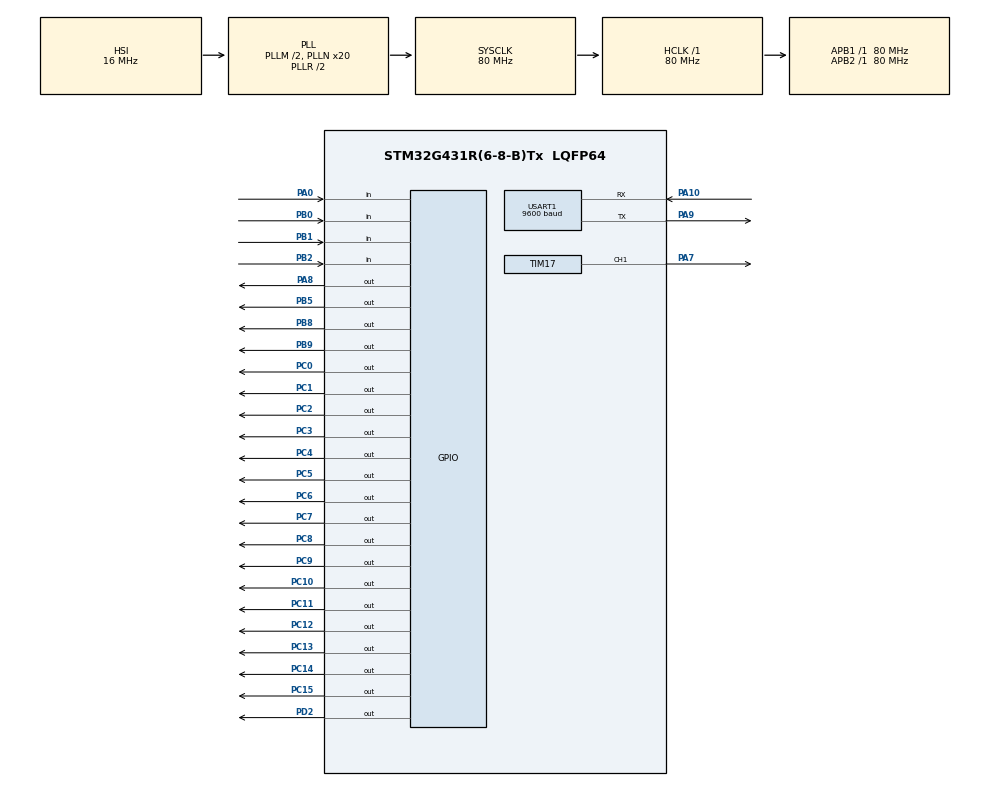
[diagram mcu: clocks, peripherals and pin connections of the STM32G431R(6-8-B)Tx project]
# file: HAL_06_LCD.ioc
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Mcu.Family=STM32G4
Mcu.Name=STM32G431R(6-8-B)Tx
Mcu.Package=LQFP64
NVIC.PriorityGroup=NVIC_PRIORITYGROUP_4
NVIC.TIM1_BRK_TIM15_IRQn=true\:0\:0\:false\:false\:true\:true\:true\:true
NVIC.USART1_IRQn=true\:0\:0\:false\:false\:true\:true\:true\:true
PA0.GPIO_PuPd=GPIO_PULLUP
PA0.Signal=GPIO_Input
PA10.Mode=Asynchronous
PA10.Signal=USART1_RX
PA7.Signal=S_TIM17_CH1
PA8.Signal=GPIO_Output
PA9.Mode=Asynchronous
PA9.Signal=USART1_TX
PB0.GPIO_Mode=GPIO_MODE_INPUT
PB0.GPIO_PuPd=GPIO_PULLUP
PB0.Signal=GPIO_Input
PB1.GPIO_Mode=GPIO_MODE_INPUT
PB1.GPIO_PuPd=GPIO_PULLUP
PB1.Signal=GPIO_Input
PB2.GPIO_Mode=GPIO_MODE_INPUT
PB2.GPIO_PuPd=GPIO_PULLUP
PB2.Signal=GPIO_Input
PB5.Signal=GPIO_Output
PB8-BOOT0.Signal=GPIO_Output
PB9.Signal=GPIO_Output
PC0.Signal=GPIO_Output
PC1.Signal=GPIO_Output
PC10.Signal=GPIO_Output
PC11.Signal=GPIO_Output
PC12.Signal=GPIO_Output
PC13.Signal=GPIO_Output
PC14-OSC32_IN.Signal=GPIO_Output
PC15-OSC32_OUT.Signal=GPIO_Output
PC2.Signal=GPIO_Output
PC3.Signal=GPIO_Output
PC4.Signal=GPIO_Output
PC5.Signal=GPIO_Output
PC6.Signal=GPIO_Output
PC7.Signal=GPIO_Output
PC8.Signal=GPIO_Output
PC9.Signal=GPIO_Output
PD2.Signal=GPIO_Output
PF0-OSC_IN.Mode=HSE-External-Oscillator
PF0-OSC_IN.Signal=RCC_OSC_IN
PF1-OSC_OUT.Mode=HSE-External-Oscillator
PF1-OSC_OUT.Signal=RCC_OSC_OUT
ProjectManager.HeapSize=0x200
ProjectManager.StackSize=0x400
ProjectManager.TargetToolchain=MDK-ARM V5.27
RCC.ADC12Freq_Value=80000000
RCC.AHBFreq_Value=80000000
RCC.APB1Freq_Value=80000000
RCC.APB1TimFreq_Value=80000000
RCC.APB2Freq_Value=80000000
RCC.APB2TimFreq_Value=80000000
RCC.CortexFreq_Value=80000000
RCC.EXTERNAL_CLOCK_VALUE=12288000
RCC.HCLKFreq_Value=80000000
RCC.HSE_VALUE=24000000
RCC.HSI48_VALUE=48000000
RCC.HSI_VALUE=16000000
RCC.LSE_VALUE=32768
RCC.PLLM=RCC_PLLM_DIV2
RCC.PLLN=20
RCC.SYSCLKFreq_VALUE=80000000
RCC.SYSCLKSource=RCC_SYSCLKSOURCE_PLLCLK
RCC.USBFreq_Value=80000000
RCC.VCOOutputFreq_Value=160000000
SH.S_TIM17_CH1.0=TIM17_CH1,PWM Generation1 CH1
TIM15.AutoReloadPreload=TIM_AUTORELOAD_PRELOAD_ENABLE
TIM15.PeriodNoDither=1000-1
TIM15.Prescaler=80-1
TIM17.AutoReloadPreload=TIM_AUTORELOAD_PRELOAD_ENABLE
TIM17.Channel=TIM_CHANNEL_1
TIM17.PeriodNoDither=100-1
TIM17.Prescaler=400-1
USART1.BaudRate=9600
USART1.VirtualMode-Asynchronous=VM_ASYNC
VP_SYS_VS_DBSignals.Mode=DisableDeadBatterySignals
VP_TIM15_VS_ClockSourceINT.Mode=Internal
VP_TIM17_VS_ClockSourceINT.Mode=Enable_Timer
board=custom

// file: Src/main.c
/* USER CODE BEGIN Header */
/**
  ******************************************************************************
  * @file           : main.c
  * @brief          : Main program body
  ******************************************************************************
  * @attention
  *
  * <h2><center>&copy; Copyright (c) 2021 STMicroelectronics.
  * All rights reserved.</center></h2>
  *
  * This software component is licensed by ST under BSD 3-Clause license,
  * the "License"; You may not use this file except in compliance with the
  * License. You may obtain a copy of the License at:
  *                        opensource.org/licenses/BSD-3-Clause
  *
  ******************************************************************************
  */
/* USER CODE END Header */
#include "main.h"
#include "tim.h"
#include "usart.h"
#include "gpio.h"

/* USER CODE BEGIN Includes */
#include "stdio.h"
#include "string.h"

int fputc(int ch,FILE *f){
	HAL_UART_Transmit(&huart1,(uint8_t*)&ch,1,0xffff);
	return ch;
}
/* USER CODE END Includes */

/* USER CODE BEGIN PTD */
typedef struct KEYs{
	_Bool singe_flag;
	_Bool sta;
	int judge;
	int counter;
}KEY;
KEY key[4]={0,0,0,0};

typedef struct DATA{
	char car_pate[4];
	char date[6];
	char time[6];
}DATA_car;
DATA_car car_message[8];
DATA_car car_temp;
char rx_data[30];
char tx_text[30];
int pointer=0;
uint8_t rx_pData;

/* USER CODE END PTD */

/* USER CODE BEGIN PD */
#define DATA 1
#define PARA 0
/* USER CODE END PD */

/* USER CODE BEGIN PM */
_Bool lcd_change=DATA;
/* USER CODE END PM */

/* USER CODE BEGIN PV */
char lcd_text[20];

int remain_car=8;
int cnbr_car=0;
int vnbr_car=0;

double cnbr_car_price=3.5f;
double vnbr_car_price=2.0f;

unsigned int B4_number=0;
/* USER CODE END PV */

void SystemClock_Config(void);

/* USER CODE BEGIN 0 */
int double_flag=0;
int wirte_counter=1;
int last_counter=0;
int i=0;
void count_money(){
	int hour1,min1;
	float money;
	hour1=(rx_data[16]-car_message[i].time[0])*10+(rx_data[17]-car_message[i].time[1]);
	min1=(rx_data[18]-car_message[i].time[2])*10+(rx_data[19]-car_message[i].time[3]);
	if(min1>0)
	{
		hour1+=1;
		min1=0;
	}
	//发送数据给上位机
	if(rx_data[0]=='V')
	{
		money=vnbr_car_price*hour1;
		sprintf(tx_text,"VNBR:%s:%d:%.2f\r\n",car_message[i].car_pate,hour1,money);
		HAL_UART_Transmit(&huart1, (uint8_t *)tx_text, strlen(tx_text),100);
		vnbr_car--;
	}
	else if(rx_data[0]=='C')
	{
		money=cnbr_car_price*hour1;
		sprintf(tx_text,"CNBR:%s:%d:%.2f\r\n",car_message[i].car_pate,hour1,money);
		HAL_UART_Transmit(&huart1, (uint8_t *)tx_text, strlen(tx_text),100);
		cnbr_car--;
	}
}
void deal_data(){
	for(i=0;i<wirte_counter;i++)
	{
		int x=strcmp(car_message[i].car_pate,car_temp.car_pate);
		if(x==0)
		{
			count_money();//统计钱
			//memset(car_message[i].car_pate,0,4);
			car_message[i].car_pate[0]=0;
			car_message[i].car_pate[1]=0;
			car_message[i].car_pate[2]=0;
			car_message[i].car_pate[3]=0;
			double_flag++;
		}
	}
	if(double_flag!=0)//有这个车牌
	{
		double_flag=0;
	}
	else//没有这个车牌
	{
		if(remain_car!=0)//有车位
		{
			if(rx_data[0]=='V')
			{
				vnbr_car++;
			}
			else if(rx_data[0]=='C')
			{
				cnbr_car++;
			}

			car_message[wirte_counter].car_pate[0]=rx_data[5];
			car_message[wirte_counter].car_pate[1]=rx_data[6];
			car_message[wirte_counter].car_pate[2]=rx_data[7];
			car_message[wirte_counter].car_pate[3]=rx_data[8];
			printf("car_pate:%s\r\n",car_message[wirte_counter].car_pate);

			car_message[wirte_counter].time[0]=rx_data[16];
			car_message[wirte_counter].time[1]=rx_data[17];
			car_message[wirte_counter].time[2]=rx_data[18];
			car_message[wirte_counter].time[3]=rx_data[19];
			car_message[wirte_counter].time[4]=rx_data[20];
			car_message[wirte_counter].time[5]=rx_data[21];
			printf("car_time:%s\r\n",car_message[wirte_counter].time);

			wirte_counter++;
		}
		else
			printf("no park\r\n");

	}

}

void usart_proc(){
	if(pointer!=0)
	{
		int temp=pointer;
		HAL_Delay(1);
		if(temp==pointer)//接收完成
		{
			if(pointer>0)
			{
				if(pointer==22)
				{
					car_temp.car_pate[0]=rx_data[5];
					car_temp.car_pate[1]=rx_data[6];
					car_temp.car_pate[2]=rx_data[7];
					car_temp.car_pate[3]=rx_data[8];
					//printf("car_temp:%s\r\n",car_temp.car_pate);

					deal_data();
				}
				else
				{
					sprintf(tx_text,"Error\r\n");
					HAL_UART_Transmit(&huart1, (uint8_t *)tx_text, strlen(tx_text),100);
				}
				pointer=0;
			}

		}
	}
}
void key_proc(){
	//B0
	if(key[0].singe_flag==1)
	{
		if(lcd_change==DATA)
			lcd_change=PARA;
		else
			lcd_change=DATA;
		key[0].singe_flag=0;
	}
	//B1
	if(key[1].singe_flag==1&&lcd_change==PARA)
	{
		cnbr_car_price+=0.5;
		vnbr_car_price+=0.5;
		key[1].singe_flag=0;
	}
	else if(key[1].singe_flag==1)
	{
		key[1].singe_flag=0;
	}
	//B2
	if(key[2].singe_flag==1&&lcd_change==PARA)
	{
		cnbr_car_price-=0.5;
		vnbr_car_price-=0.5;
		cnbr_car_price=cnbr_car_price>0?cnbr_car_price:0;
		vnbr_car_price=vnbr_car_price>0?vnbr_car_price:0;
//		if(cnbr_car_price<=0)
//			cnbr_car_price=0;
//		if(vnbr_car_price<=0)
//			vnbr_car_price=0;

		key[2].singe_flag=0;
	}
	else if(key[2].singe_flag==1)
	{
		key[2].singe_flag=0;
	}
	//B3
	if(key[3].singe_flag==1)
	{
		B4_number++;
		key[3].singe_flag=0;
	}
	if(B4_number%2==0)
		__HAL_TIM_SET_COMPARE(&htim17, TIM_CHANNEL_1,0);
	else
		__HAL_TIM_SET_COMPARE(&htim17, TIM_CHANNEL_1,20);
}
void lcd_proc(){
	if(lcd_change==DATA)
	{
	sprintf(lcd_text,"       Data        ");
	LCD_DisplayStringLine(Line1,(unsigned char *)lcd_text);

	sprintf(lcd_text,"   CNBR:%d        ",cnbr_car);
	LCD_DisplayStringLine(Line3,(unsigned char *)lcd_text);

	sprintf(lcd_text,"   VNBR:%d        ",vnbr_car);
	LCD_DisplayStringLine(Line5,(unsigned char *)lcd_text);

	sprintf(lcd_text,"   IDLE:%d        ",remain_car-cnbr_car-vnbr_car);
	LCD_DisplayStringLine(Line7,(unsigned char *)lcd_text);
	}
	else
	{
	sprintf(lcd_text,"       Para        ");
	LCD_DisplayStringLine(Line1,(unsigned char *)lcd_text);

	sprintf(lcd_text,"   CNBR:%.2f        ",cnbr_car_price);
	LCD_DisplayStringLine(Line3,(unsigned char *)lcd_text);

	sprintf(lcd_text,"   VNBR:%.2f        ",vnbr_car_price);
	LCD_DisplayStringLine(Line5,(unsigned char *)lcd_text);

	sprintf(lcd_text,"                    ");
	LCD_DisplayStringLine(Line7,(unsigned char *)lcd_text);
	}

}
void led_proc(){
	HAL_GPIO_WritePin(GPIOD, GPIO_PIN_2, GPIO_PIN_SET);
	HAL_GPIO_WritePin(GPIOC, GPIO_PIN_13|GPIO_PIN_14|GPIO_PIN_15|GPIO_PIN_10|GPIO_PIN_11|GPIO_PIN_12, GPIO_PIN_SET);
	HAL_GPIO_WritePin(GPIOD, GPIO_PIN_2, GPIO_PIN_RESET);

	if(remain_car>0)
	{
		HAL_GPIO_WritePin(GPIOD, GPIO_PIN_2, GPIO_PIN_SET);
		HAL_GPIO_WritePin(GPIOC, GPIO_PIN_8, GPIO_PIN_RESET);
		HAL_GPIO_WritePin(GPIOD, GPIO_PIN_2, GPIO_PIN_RESET);
	}
	else
	{
		HAL_GPIO_WritePin(GPIOD, GPIO_PIN_2, GPIO_PIN_SET);
		HAL_GPIO_WritePin(GPIOC, GPIO_PIN_8, GPIO_PIN_SET);
		HAL_GPIO_WritePin(GPIOD, GPIO_PIN_2, GPIO_PIN_RESET);
	}

	if(B4_number%2==0)
	{
		HAL_GPIO_WritePin(GPIOD, GPIO_PIN_2, GPIO_PIN_SET);
		HAL_GPIO_WritePin(GPIOC, GPIO_PIN_9, GPIO_PIN_SET);
		HAL_GPIO_WritePin(GPIOD, GPIO_PIN_2, GPIO_PIN_RESET);
	}
	else
	{
		HAL_GPIO_WritePin(GPIOD, GPIO_PIN_2, GPIO_PIN_SET);
		HAL_GPIO_WritePin(GPIOC, GPIO_PIN_9, GPIO_PIN_RESET);
		HAL_GPIO_WritePin(GPIOD, GPIO_PIN_2, GPIO_PIN_RESET);
	}
}
/* USER CODE END 0 */

int main(void)
{

  /* MCU Configuration--------------------------------------------------------*/

  /* Reset of all peripherals, Initializes the Flash interface and the Systick. */
  HAL_Init();

  /* Configure the system clock */
  SystemClock_Config();

  /* Initialize all configured peripherals */
  MX_GPIO_Init();
  MX_TIM15_Init();
  MX_TIM17_Init();
  MX_USART1_UART_Init();
  /* USER CODE BEGIN 2 */
	HAL_TIM_PWM_Start(&htim17, TIM_CHANNEL_1);
	__HAL_TIM_SET_COMPARE(&htim17, TIM_CHANNEL_1,0);

	HAL_TIM_Base_Start_IT(&htim15);

	HAL_UART_Receive_IT(&huart1,&rx_pData,1);
	LCD_Init();

  /* USER CODE END 2 */

  /* Infinite loop */
  /* USER CODE BEGIN WHILE */

	LCD_Clear(Black);
	LCD_SetBackColor(Black);
	LCD_SetTextColor(White);

  while (1)
  {
    /* USER CODE END WHILE */

    /* USER CODE BEGIN 3 */
		usart_proc();
		key_proc();
		lcd_proc();
		led_proc();
  }
  /* USER CODE END 3 */
}

void SystemClock_Config(void)
{
  RCC_OscInitTypeDef RCC_OscInitStruct = {0};
  RCC_ClkInitTypeDef RCC_ClkInitStruct = {0};

  /** Configure the main internal regulator output voltage
  */
  HAL_PWREx_ControlVoltageScaling(PWR_REGULATOR_VOLTAGE_SCALE1);

  /** Initializes the RCC Oscillators according to the specified parameters
  * in the RCC_OscInitTypeDef structure.
  */
  RCC_OscInitStruct.OscillatorType = RCC_OSCILLATORTYPE_HSI;
  RCC_OscInitStruct.HSIState = RCC_HSI_ON;
  RCC_OscInitStruct.HSICalibrationValue = RCC_HSICALIBRATION_DEFAULT;
  RCC_OscInitStruct.PLL.PLLState = RCC_PLL_ON;
  RCC_OscInitStruct.PLL.PLLSource = RCC_PLLSOURCE_HSI;
  RCC_OscInitStruct.PLL.PLLM = RCC_PLLM_DIV2;
  RCC_OscInitStruct.PLL.PLLN = 20;
  RCC_OscInitStruct.PLL.PLLP = RCC_PLLP_DIV2;
  RCC_OscInitStruct.PLL.PLLQ = RCC_PLLQ_DIV2;
  RCC_OscInitStruct.PLL.PLLR = RCC_PLLR_DIV2;
  if (HAL_RCC_OscConfig(&RCC_OscInitStruct) != HAL_OK)
  {
    Error_Handler();
  }

  /** Initializes the CPU, AHB and APB buses clocks
  */
  RCC_ClkInitStruct.ClockType = RCC_CLOCKTYPE_HCLK|RCC_CLOCKTYPE_SYSCLK
                              |RCC_CLOCKTYPE_PCLK1|RCC_CLOCKTYPE_PCLK2;
  RCC_ClkInitStruct.SYSCLKSource = RCC_SYSCLKSOURCE_PLLCLK;
  RCC_ClkInitStruct.AHBCLKDivider = RCC_SYSCLK_DIV1;
  RCC_ClkInitStruct.APB1CLKDivider = RCC_HCLK_DIV1;
  RCC_ClkInitStruct.APB2CLKDivider = RCC_HCLK_DIV1;

  if (HAL_RCC_ClockConfig(&RCC_ClkInitStruct, FLASH_LATENCY_2) != HAL_OK)
  {
    Error_Handler();
  }
}

/* USER CODE BEGIN 4 */
int key_time=0;
void HAL_TIM_PeriodElapsedCallback(TIM_HandleTypeDef *htim){
	if(htim->Instance==TIM15)
	{
		key[0].sta=HAL_GPIO_ReadPin(GPIOB,GPIO_PIN_0);
		key[1].sta=HAL_GPIO_ReadPin(GPIOB,GPIO_PIN_1);
		key[2].sta=HAL_GPIO_ReadPin(GPIOB,GPIO_PIN_2);
		key[3].sta=HAL_GPIO_ReadPin(GPIOA,GPIO_PIN_0);

		if(key_time>=70)

		{
			for(int i=0;i<4;i++)
			{
				switch(key[i].judge)
				{
					case 0:
					{
						if(key[i].sta==0)
							key[i].judge=1;
					}break;
					case 1:
					{
						if(key[i].sta==0)
							key[i].singe_flag=1;
						else
							key[i].judge=0;
					}break;
				}
			}
			key_time=0;
		}
		else
			key_time++;
	}

}

void HAL_UART_RxCpltCallback(UART_HandleTypeDef *huart){
	if(huart->Instance==USART1)
	{
		rx_data[pointer++]=rx_pData;
		HAL_UART_Receive_IT(&huart1,&rx_pData,1);
	}

}
/* USER CODE END 4 */

void Error_Handler(void)
{
}
